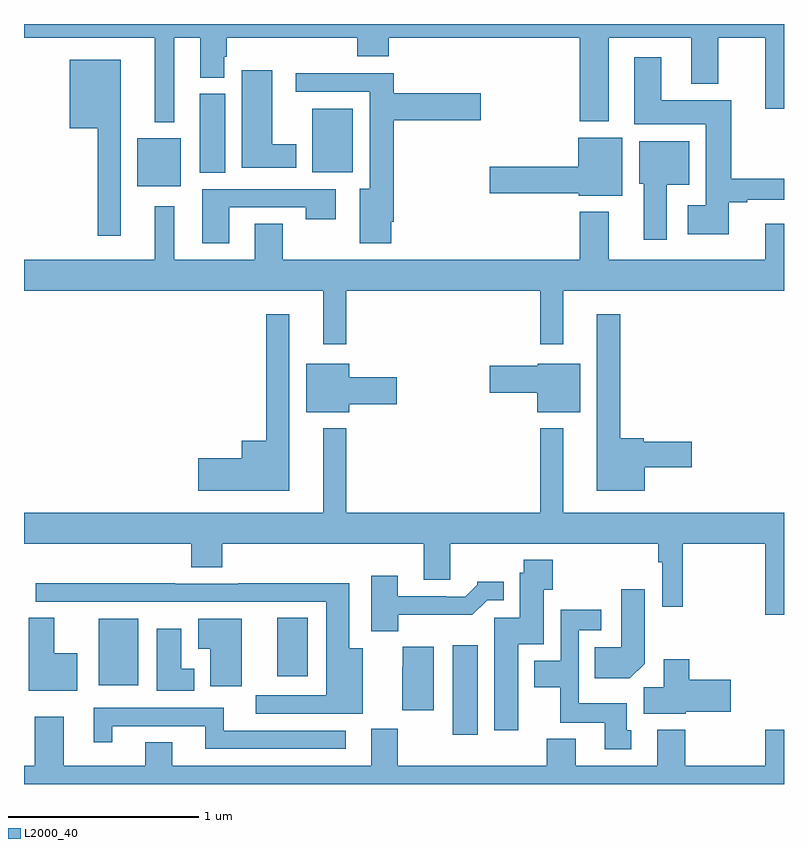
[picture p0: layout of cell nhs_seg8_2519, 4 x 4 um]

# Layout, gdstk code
import gdstk
lib = gdstk.Library(unit=1e-6, precision=1e-09)
def R(c, l, rs):  # rectangles x0, y0, x1, y1
    for r in rs: c.add(gdstk.rectangle(r[:2], r[2:], *l))
def P(c, l, *ps):  # polygons
    for p in ps: c.add(gdstk.Polygon(p, *l))
L2000_40 = (2000, 40)

nhs_seg8_2519 = lib.new_cell('nhs_seg8_2519')
R(nhs_seg8_2519, L2000_40, [(271.256,1118.16,271.387,1118.629), (269.393,1118.42,269.602,1118.77), (270.332,1118.466,270.493,1118.774), (269.597,1121.045,269.824,1121.299), (269.924,1121.116,270.058,1121.532), (270.518,1121.12,270.73,1121.455)])
P(nhs_seg8_2519, L2000_40, [(269.791,1121.828),(269.927,1121.828),(269.927,1121.617),(270.055,1121.617),(270.055,1121.727),(270.068,1121.727),(270.068,1121.828),(270.755,1121.828),(270.755,1121.729),(270.92,1121.729),(270.92,1121.828),(271.925,1121.828),(271.925,1121.387),(272.077,1121.387),(272.077,1121.828),(272.513,1121.828),(272.513,1121.585),(272.653,1121.585),(272.653,1121.828),(272.9,1121.828),(272.9,1121.454),(273,1121.454),(273,1121.9),(269,1121.9),(269,1121.828),(269.687,1121.828),(269.687,1121.384),(269.791,1121.384)],
  [(272.71,1120.962),(272.806,1120.962),(272.806,1120.974),(273,1120.974),(273,1121.086),(272.723,1121.086),(272.723,1121.5),(272.353,1121.5),(272.353,1121.725),(272.213,1121.725),(272.213,1121.372),(272.588,1121.372),(272.588,1120.945),(272.493,1120.945),(272.493,1120.793),(272.71,1120.793)],
  [(269.509,1121.713),(269.24,1121.713),(269.24,1121.351),(269.388,1121.351),(269.388,1120.785),(269.509,1120.785)],
  [(270.433,1121.266),(270.307,1121.266),(270.307,1121.656),(270.146,1121.656),(270.146,1121.144),(270.433,1121.144)],
  [(270.934,1120.858),(270.947,1120.858),(270.947,1121.393),(271.405,1121.393),(271.405,1121.535),(270.947,1121.535),(270.947,1121.642),(270.429,1121.642),(270.429,1121.544),(270.821,1121.544),(270.821,1121.032),(270.767,1121.032),(270.767,1120.746),(270.934,1120.746)],
  [(272.149,1121.302),(271.916,1121.302),(271.916,1121.15),(271.452,1121.15),(271.452,1121.008),(271.92,1121.008),(271.92,1120.997),(272.149,1120.997)],
  [(272.383,1121.054),(272.5,1121.054),(272.5,1121.284),(272.237,1121.284),(272.237,1121.058),(272.261,1121.058),(272.261,1120.764),(272.383,1120.764)],
  [(270.079,1120.935),(270.484,1120.935),(270.484,1120.872),(270.64,1120.872),(270.64,1121.031),(269.939,1121.031),(269.939,1120.746),(270.079,1120.746)],
  [(270.575,1120.215),(270.697,1120.215),(270.697,1120.496),(271.716,1120.496),(271.716,1120.215),(271.837,1120.215),(271.837,1120.496),(273,1120.496),(273,1120.849),(272.9,1120.849),(272.9,1120.66),(272.077,1120.66),(272.077,1120.912),(271.925,1120.912),(271.925,1120.66),(270.363,1120.66),(270.363,1120.85),(270.215,1120.85),(270.215,1120.66),(269.791,1120.66),(269.791,1120.942),(269.687,1120.942),(269.687,1120.66),(269,1120.66),(269,1120.496),(270.575,1120.496)],
  [(272.266,1119.566),(272.515,1119.566),(272.515,1119.701),(272.262,1119.701),(272.262,1119.719),(272.137,1119.719),(272.137,1120.372),(272.015,1120.372),(272.015,1119.443),(272.266,1119.443)],
  [(270.397,1120.372),(270.276,1120.372),(270.276,1119.706),(270.146,1119.706),(270.146,1119.614),(269.916,1119.614),(269.916,1119.443),(270.397,1119.443)],
  [(270.712,1119.899),(270.961,1119.899),(270.961,1120.041),(270.712,1120.041),(270.712,1120.111),(270.485,1120.111),(270.485,1119.857),(270.712,1119.857)],
  [(271.927,1120.111),(271.704,1120.111),(271.704,1120.101),(271.452,1120.101),(271.452,1119.959),(271.7,1119.959),(271.7,1119.857),(271.927,1119.857)],
  [(273,1119.328),(271.837,1119.328),(271.837,1119.772),(271.716,1119.772),(271.716,1119.328),(270.697,1119.328),(270.697,1119.772),(270.575,1119.772),(270.575,1119.328),(269,1119.328),(269,1119.164),(269.879,1119.164),(269.879,1119.04),(270.044,1119.04),(270.044,1119.164),(271.103,1119.164),(271.103,1118.974),(271.243,1118.974),(271.243,1119.164),(272.338,1119.164),(272.338,1119.068),(272.358,1119.068),(272.358,1118.832),(272.467,1118.832),(272.467,1119.164),(272.9,1119.164),(272.9,1118.79),(273,1118.79)],
  [(271.6,1118.636),(271.735,1118.636),(271.735,1118.923),(271.782,1118.923),(271.782,1119.079),(271.63,1119.079),(271.63,1119.012),(271.61,1119.012),(271.61,1118.775),(271.475,1118.775),(271.475,1118.184),(271.6,1118.184)],
  [(270.97,1118.79),(271.359,1118.79),(271.437,1118.868),(271.525,1118.868),(271.525,1118.965),(271.386,1118.965),(271.386,1118.95),(271.322,1118.886),(271.223,1118.886),(271.223,1118.889),(270.967,1118.889),(270.967,1118.995),(270.827,1118.995),(270.827,1118.705),(270.97,1118.705)],
  [(270.784,1118.614),(270.712,1118.614),(270.712,1118.957),(270.127,1118.957),(270.127,1118.955),(269.795,1118.955),(269.795,1118.957),(269.061,1118.957),(269.061,1118.859),(270.59,1118.859),(270.59,1118.367),(270.219,1118.367),(270.219,1118.271),(270.784,1118.271)],
  [(272.266,1118.534),(272.266,1118.926),(272.144,1118.926),(272.144,1118.62),(272.005,1118.62),(272.005,1118.456),(272.188,1118.456)],
  [(272.197,1118.184),(272.173,1118.184),(272.173,1118.326),(271.92,1118.326),(271.92,1118.709),(272.038,1118.709),(272.038,1118.818),(271.824,1118.818),(271.824,1118.548),(271.685,1118.548),(271.685,1118.408),(271.822,1118.408),(271.822,1118.222),(272.057,1118.222),(272.057,1118.082),(272.197,1118.082)],
  [(269.281,1118.587),(269.158,1118.587),(269.158,1118.774),(269.024,1118.774),(269.024,1118.39),(269.281,1118.39)],
  [(270.145,1118.77),(269.916,1118.77),(269.916,1118.612),(269.981,1118.612),(269.981,1118.415),(270.145,1118.415)],
  [(269.896,1118.506),(269.827,1118.506),(269.827,1118.716),(269.699,1118.716),(269.699,1118.39),(269.896,1118.39)],
  [(271.156,1118.623),(270.994,1118.623),(270.994,1118.516),(270.992,1118.516),(270.992,1118.289),(271.156,1118.289)],
  [(272.484,1118.279),(272.719,1118.279),(272.719,1118.45),(272.501,1118.45),(272.501,1118.557),(272.366,1118.557),(272.366,1118.408),(272.261,1118.408),(272.261,1118.27),(272.484,1118.27)],
  [(270.694,1118.181),(270.052,1118.181),(270.052,1118.301),(269.366,1118.301),(269.366,1118.121),(269.464,1118.121),(269.464,1118.205),(269.954,1118.205),(269.954,1118.085),(270.694,1118.085)],
  [(269.639,1118.12),(269.639,1117.996),(269.209,1117.996),(269.209,1118.254),(269.057,1118.254),(269.057,1117.996),(269,1117.996),(269,1117.9),(273,1117.9),(273,1118.185),(272.9,1118.185),(272.9,1117.996),(272.481,1117.996),(272.481,1118.185),(272.333,1118.185),(272.333,1117.996),(271.903,1117.996),(271.903,1118.137),(271.751,1118.137),(271.751,1117.996),(270.967,1117.996),(270.967,1118.191),(270.827,1118.191),(270.827,1117.996),(269.779,1117.996),(269.779,1118.12)])

lib.write_gds('nhs_seg8_2519.gds')
